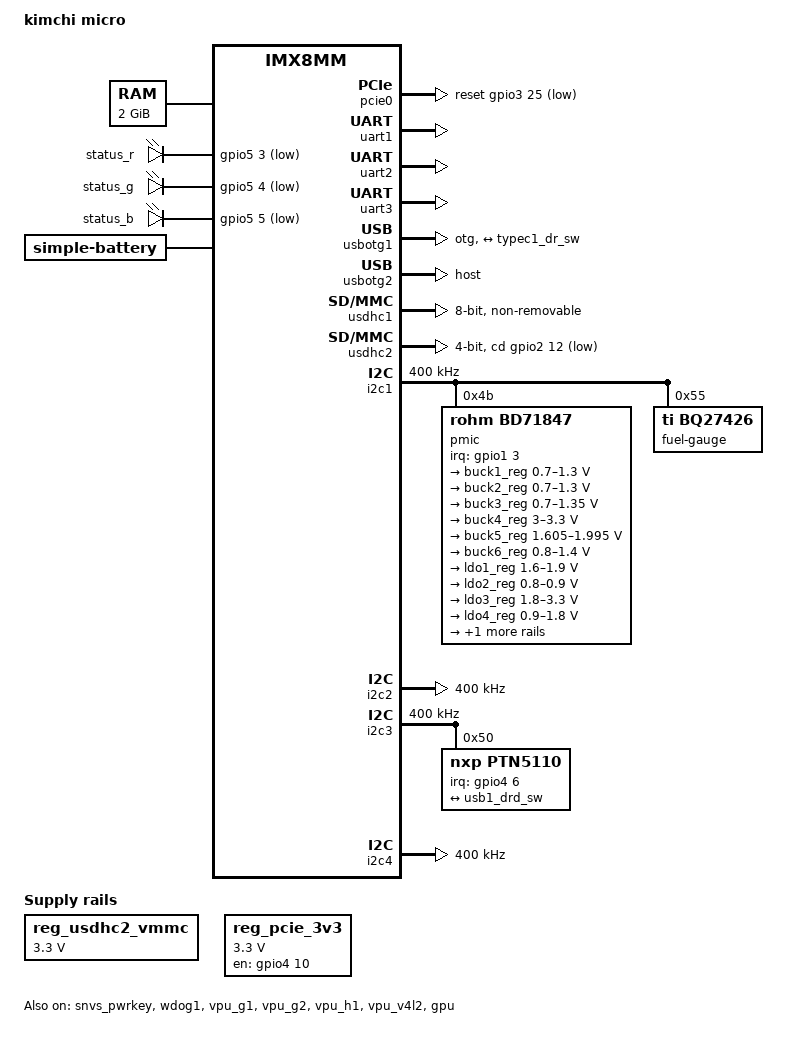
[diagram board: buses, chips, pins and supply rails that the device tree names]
/*
 * Copyright 2018 NXP
 *
 * This program is free software; you can redistribute it and/or
 * modify it under the terms of the GNU General Public License
 * as published by the Free Software Foundation; either version 2
 * of the License, or (at your option) any later version.
 *
 * This program is distributed in the hope that it will be useful,
 * but WITHOUT ANY WARRANTY; without even the implied warranty of
 * MERCHANTABILITY or FITNESS FOR A PARTICULAR PURPOSE.  See the
 * GNU General Public License for more details.
 */

/dts-v1/;

#include <dt-bindings/usb/pd.h>
#include "imx8mm.dtsi"

/ {
	model = "kimchi micro";
	compatible = "gg,kimchi", "fsl,imx8mm";

	chosen {
		stdout-path = &uart2;
	};

	memory@40000000 {
		device_type = "memory";
		reg = <0x0 0x40000000 0 0x80000000>;
	};

	leds {
		compatible = "gpio-leds";
		pinctrl-names = "default";
		pinctrl-0 = <&pinctrl_gpio_led>;

		status_r {
			label = "status_r";
			gpios = <&gpio5 3 GPIO_ACTIVE_LOW>;
			default-state = "off";
		};

		status_g {
			label = "status_g";
			gpios = <&gpio5 4 GPIO_ACTIVE_LOW>;
			default-state = "on";
		};

		status_b {
			label = "status_b";
			gpios = <&gpio5 5 GPIO_ACTIVE_LOW>;
			default-state = "off";
		};
	};

	reg_usdhc2_vmmc: regulator-usdhc2 {
		compatible = "regulator-fixed";
		regulator-name = "VSD_3V3";
		regulator-min-microvolt = <3300000>;
		regulator-max-microvolt = <3300000>;
		regulator-always-on;
	};

	reg_pcie_3v3: regulator-pcie-3v3 {
		compatible = "regulator-fixed";
		regulator-name = "PCIE_3V3";
		pinctrl-names = "default";
		pinctrl-0 = <&pinctrl_pcie_reg>;
		regulator-min-microvolt = <3300000>;
		regulator-max-microvolt = <3300000>;
		gpio = <&gpio4 10 GPIO_ACTIVE_HIGH>;
		enable-active-high;
	};

	/*
	extcon_usb1: extcon_usb1 {
		compatible = "linux,extcon-usb-gpio";
		pinctrl-names = "default";
		pinctrl-0 = <&pinctrl_usb1>;
		id-gpio = <&gpio1 10 GPIO_ACTIVE_HIGH>;
		vbus-gpio = <&gpio1 12 GPIO_ACTIVE_HIGH>;
	};

	extcon_usb2: extcon_usb2 {
		compatible = "linux,extcon-usb-gpio";
		pinctrl-names = "default";
		pinctrl-0 = <&pinctrl_usb2>;
		id-gpio = <&gpio1 11 GPIO_ACTIVE_HIGH>;
		vbus-gpio = <&gpio1 14 GPIO_ACTIVE_HIGH>;
	};
	*/

	bat: battery {
		compatible = "simple-battery";
		voltage-min-design-microvolt = <3100000>;
		energy-full-design-microwatt-hours = <6290000>;
		charge-full-design-microamp-hours = <1700000>;
	};
};

&A53_0 {
	cpu-supply = <&buck2_reg>;
};

&A53_1 {
	cpu-supply = <&buck2_reg>;
};

&A53_2 {
	cpu-supply = <&buck2_reg>;
};

&A53_3 {
	cpu-supply = <&buck2_reg>;
};

&pcie0{
	pinctrl-names = "default";
	pinctrl-0 = <&pinctrl_pcie0>;
	vpcie-supply = <&reg_pcie_3v3>;
	disable-gpio = <&gpio3 21 GPIO_ACTIVE_LOW>;
	reset-gpio = <&gpio3 25 GPIO_ACTIVE_LOW>;
	clocks = <&clk IMX8MM_CLK_PCIE1_ROOT>,
		 <&clk IMX8MM_CLK_PCIE1_AUX>,
		 <&clk IMX8MM_CLK_PCIE1_PHY>,
		 <&clk IMX8MM_SYS_PLL2_100M>;
	clock-names = "pcie", "pcie_aux", "pcie_phy", "pcie_bus";
	assigned-clocks = <&clk IMX8MM_CLK_PCIE1_AUX>,
			  <&clk IMX8MM_CLK_PCIE1_PHY>,
			  <&clk IMX8MM_CLK_PCIE1_CTRL>;
	assigned-clock-rates = <10000000>, <100000000>, <250000000>;
	assigned-clock-parents = <&clk IMX8MM_SYS_PLL2_50M>,
				 <&clk IMX8MM_SYS_PLL2_100M>,
				 <&clk IMX8MM_SYS_PLL2_250M>;
	ext_osc = <0>;
	status = "okay";
};

&snvs_pwrkey {
	status = "okay";
};

&uart1 { /* aux */
	pinctrl-names = "default";
	pinctrl-0 = <&pinctrl_uart1>;
	assigned-clocks = <&clk IMX8MM_CLK_UART1>;
	assigned-clock-parents = <&clk IMX8MM_SYS_PLL1_80M>;
	status = "okay";
};

&uart2 { /* console */
	pinctrl-names = "default";
	pinctrl-0 = <&pinctrl_uart2>;
	status = "okay";
};

&uart3 {
	pinctrl-names = "default";
	pinctrl-0 = <&pinctrl_uart3>;
	assigned-clocks = <&clk IMX8MM_CLK_UART3>;
	assigned-clock-parents = <&clk IMX8MM_SYS_PLL1_80M>;
	status = "okay";
};

&usbotg1 {
	dr_mode = "otg";
	hnp-disable;
	srp-disable;
	adp-disable;
	usb-role-switch;
	picophy,pre-emp-curr-control = <3>;
	picophy,dc-vol-level-adjust = <7>;
	status = "okay";

	port {
		usb1_drd_sw: endpoint {
			remote-endpoint = <&typec1_dr_sw>;
		};
	};
};

&usbotg2 {
	dr_mode = "host";
	disable-over-current;
	status = "okay";
};

&usdhc1 {
	pinctrl-names = "default", "state_100mhz", "state_200mhz";
	pinctrl-0 = <&pinctrl_usdhc1>;
	pinctrl-1 = <&pinctrl_usdhc1_100mhz>;
	pinctrl-2 = <&pinctrl_usdhc1_200mhz>;
	bus-width = <8>;
	non-removable;
	status = "okay";
};

&usdhc2 {
	pinctrl-names = "default", "state_100mhz", "state_200mhz";
	pinctrl-0 = <&pinctrl_usdhc2>, <&pinctrl_usdhc2_gpio>;
	pinctrl-1 = <&pinctrl_usdhc2_100mhz>, <&pinctrl_usdhc2_gpio>;
	pinctrl-2 = <&pinctrl_usdhc2_200mhz>, <&pinctrl_usdhc2_gpio>;
	cd-gpios = <&gpio2 12 GPIO_ACTIVE_LOW>;
	bus-width = <4>;
	status = "okay";
};

&wdog1 {
	pinctrl-names = "default";
	pinctrl-0 = <&pinctrl_wdog>;
	fsl,ext-reset-output;
	status = "okay";
};

&i2c1 {
	clock-frequency = <400000>;
	pinctrl-names = "default";
	pinctrl-0 = <&pinctrl_i2c1>;
	status = "okay";

	pmic@4b {
		compatible = "rohm,bd71847";
		reg = <0x4b>;
		pinctrl-0 = <&pinctrl_pmic>;
		interrupt-parent = <&gpio1>;
		interrupts = <3 GPIO_ACTIVE_LOW>;
		rohm,reset-snvs-powered;

		regulators {
			buck1_reg: BUCK1 {
				regulator-name = "BUCK1";
				regulator-min-microvolt = <700000>;
				regulator-max-microvolt = <1300000>;
				regulator-boot-on;
				regulator-always-on;
				regulator-ramp-delay = <1250>;
			};

			buck2_reg: BUCK2 {
				regulator-name = "BUCK2";
				regulator-min-microvolt = <700000>;
				regulator-max-microvolt = <1300000>;
				regulator-boot-on;
				regulator-always-on;
				regulator-ramp-delay = <1250>;
				rohm,dvs-run-voltage = <1000000>;
				rohm,dvs-idle-voltage = <900000>;
			};

			buck3_reg: BUCK3 {
				// BUCK5 in datasheet
				regulator-name = "BUCK3";
				regulator-min-microvolt = <700000>;
				regulator-max-microvolt = <1350000>;
				regulator-boot-on;
				regulator-always-on;
			};

			buck4_reg: BUCK4 {
				// BUCK6 in datasheet
				regulator-name = "BUCK4";
				regulator-min-microvolt = <3000000>;
				regulator-max-microvolt = <3300000>;
				regulator-boot-on;
				regulator-always-on;
			};

			buck5_reg: BUCK5 {
				// BUCK7 in datasheet
				regulator-name = "BUCK5";
				regulator-min-microvolt = <1605000>;
				regulator-max-microvolt = <1995000>;
				regulator-boot-on;
				regulator-always-on;
			};

			buck6_reg: BUCK6 {
				// BUCK8 in datasheet
				regulator-name = "BUCK6";
				regulator-min-microvolt = <800000>;
				regulator-max-microvolt = <1400000>;
				regulator-boot-on;
				regulator-always-on;
			};

			ldo1_reg: LDO1 {
				regulator-name = "LDO1";
				regulator-min-microvolt = <1600000>;
				regulator-max-microvolt = <1900000>;
				regulator-boot-on;
				regulator-always-on;
			};

			ldo2_reg: LDO2 {
				regulator-name = "LDO2";
				regulator-min-microvolt = <800000>;
				regulator-max-microvolt = <900000>;
				regulator-boot-on;
				regulator-always-on;
			};

			ldo3_reg: LDO3 {
				regulator-name = "LDO3";
				regulator-min-microvolt = <1800000>;
				regulator-max-microvolt = <3300000>;
				regulator-boot-on;
				regulator-always-on;
			};

			ldo4_reg: LDO4 {
				regulator-name = "LDO4";
				regulator-min-microvolt = <900000>;
				regulator-max-microvolt = <1800000>;
				regulator-boot-on;
				regulator-always-on;
			};

			ldo6_reg: LDO6 {
				regulator-name = "LDO6";
				regulator-min-microvolt = <900000>;
				regulator-max-microvolt = <1800000>;
				regulator-boot-on;
				regulator-always-on;
			};
		};
	};

	fuel-gauge@55 {
		compatible = "ti,bq27426";
		reg = <0x55>;
		monitored-battery = <&bat>;
	};
};

&i2c2 {
	clock-frequency = <400000>;
	pinctrl-names = "default";
	pinctrl-0 = <&pinctrl_i2c2>;
	status = "okay";
};

&i2c3 {
	clock-frequency = <400000>;
	pinctrl-names = "default";
	pinctrl-0 = <&pinctrl_i2c3>;
	status = "okay";

	ptn5110: tcpc@50 {
		compatible = "nxp,ptn5110";
		pinctrl-names = "default";
		pinctrl-0 = <&pinctrl_typec1>;
		reg = <0x50>;
		interrupt-parent = <&gpio4>;
		interrupts = <6 8>;
		status = "okay";

		/* Contrary to the documentation for 'nxp,ptn5110', this
		 * platform needs to have this type-c port controller and
		 * the usb controller connected in the port graph for dual
		 * role switching to work properly
		 */
		port {
			typec1_dr_sw: endpoint {
				remote-endpoint = <&usb1_drd_sw>;
			};
		};

		typec1_con: connector {
			compatible = "usb-c-connector";
			label = "USB-C";
			power-role = "dual";
			data-role = "dual";
			try-power-role = "sink";
			source-pdos = <PDO_FIXED(5000, 3000,
						 PDO_FIXED_USB_COMM)>;
			sink-pdos = <PDO_FIXED(5000, 3000,
						 PDO_FIXED_USB_COMM)>;
			op-sink-microwatt = <15000000>;

			port {
				/* we don't need to handle a type-c mux on this port
				 * so the endpoint here can be blank. Including the
				 * port node in the first place simply supresses
				 * warnings at boot.
				 */
			};
		};
	};
};

&i2c4 {
	clock-frequency = <400000>;
	pinctrl-names = "default";
	pinctrl-0 = <&pinctrl_i2c4>;
	status = "okay";
};

&iomuxc {
	pinctrl-names = "default";

	pinctrl_gpio_led: gpioledgrp {
		fsl,pins = <
			MX8MM_IOMUXC_SPDIF_EXT_CLK_GPIO5_IO5		0x20
			MX8MM_IOMUXC_SPDIF_RX_GPIO5_IO4			0x20
			MX8MM_IOMUXC_SPDIF_TX_GPIO5_IO3			0x20
		>;
	};

	pinctrl_i2c1: i2c1grp {
		fsl,pins = <
			MX8MM_IOMUXC_I2C1_SCL_I2C1_SCL			0x400001c3
			MX8MM_IOMUXC_I2C1_SDA_I2C1_SDA			0x400001c3
		>;
	};

	pinctrl_i2c2: i2c2grp {
		fsl,pins = <
			MX8MM_IOMUXC_I2C2_SCL_I2C2_SCL			0x400001c3
			MX8MM_IOMUXC_I2C2_SDA_I2C2_SDA			0x400001c3
		>;
	};

	pinctrl_i2c3: i2c3grp {
		fsl,pins = <
			MX8MM_IOMUXC_I2C3_SCL_I2C3_SCL			0x400001c3
			MX8MM_IOMUXC_I2C3_SDA_I2C3_SDA			0x400001c3
		>;
	};

	pinctrl_i2c4: i2c4grp {
		fsl,pins = <
			MX8MM_IOMUXC_I2C4_SCL_I2C4_SCL			0x400001c3
			MX8MM_IOMUXC_I2C4_SDA_I2C4_SDA			0x400001c3
		>;
	};

	pinctrl_pcie0: pcie0grp {
		fsl,pins = <
			MX8MM_IOMUXC_SAI5_RXD0_GPIO3_IO21	0x41
			MX8MM_IOMUXC_SAI5_MCLK_GPIO3_IO25		0x41
		>;
	};

	pinctrl_pcie_reg: pciereggrp {
		fsl,pins = <
			MX8MM_IOMUXC_SAI1_TXFS_GPIO4_IO10	0x40
		>;
	};

	pinctrl_pmic: pmicirq {
		fsl,pins = <
			MX8MM_IOMUXC_GPIO1_IO03_GPIO1_IO3		0x41
		>;
	};

	pinctrl_typec1: typec1grp {
		fsl,pins = <
			MX8MM_IOMUXC_SAI1_RXD4_GPIO4_IO6	0x159
		>;
	};

	pinctrl_uart1: uart1grp {
		fsl,pins = <
			MX8MM_IOMUXC_UART1_RXD_UART1_DCE_RX	0x140
			MX8MM_IOMUXC_UART1_TXD_UART1_DCE_TX	0x140
		>;
	};

	pinctrl_uart2: uart2grp {
		fsl,pins = <
			MX8MM_IOMUXC_UART2_RXD_UART2_DCE_RX	0x140
			MX8MM_IOMUXC_UART2_TXD_UART2_DCE_TX	0x140
		>;
	};

	pinctrl_uart3: uart3grp {
		fsl,pins = <
			MX8MM_IOMUXC_UART3_RXD_UART3_DCE_RX	0x140
			MX8MM_IOMUXC_UART3_TXD_UART3_DCE_TX	0x140
		>;
	};

	pinctrl_usdhc1: usdhc1grp {
		fsl,pins = <
			MX8MM_IOMUXC_SD1_CLK_USDHC1_CLK		0x190
			MX8MM_IOMUXC_SD1_CMD_USDHC1_CMD		0x1d0
			MX8MM_IOMUXC_SD1_DATA0_USDHC1_DATA0	0x1d0
			MX8MM_IOMUXC_SD1_DATA1_USDHC1_DATA1	0x1d0
			MX8MM_IOMUXC_SD1_DATA2_USDHC1_DATA2	0x1d0
			MX8MM_IOMUXC_SD1_DATA3_USDHC1_DATA3	0x1d0
			MX8MM_IOMUXC_SD1_DATA4_USDHC1_DATA4 0x1d0
			MX8MM_IOMUXC_SD1_DATA5_USDHC1_DATA5	0x1d0
			MX8MM_IOMUXC_SD1_DATA6_USDHC1_DATA6	0x1d0
			MX8MM_IOMUXC_SD1_DATA7_USDHC1_DATA7	0x1d0
			MX8MM_IOMUXC_SD1_RESET_B_USDHC1_RESET_B 0x150
			MX8MM_IOMUXC_SD1_STROBE_USDHC1_STROBE	0x190
		>;
	};

	pinctrl_usdhc1_100mhz: usdhc1grp100mhz {
		fsl,pins = <
			MX8MM_IOMUXC_SD1_CLK_USDHC1_CLK		0x194
			MX8MM_IOMUXC_SD1_CMD_USDHC1_CMD		0x1d4
			MX8MM_IOMUXC_SD1_DATA0_USDHC1_DATA0	0x1d4
			MX8MM_IOMUXC_SD1_DATA1_USDHC1_DATA1	0x1d4
			MX8MM_IOMUXC_SD1_DATA2_USDHC1_DATA2	0x1d4
			MX8MM_IOMUXC_SD1_DATA3_USDHC1_DATA3	0x1d4
			MX8MM_IOMUXC_SD1_DATA4_USDHC1_DATA4 0x1d4
			MX8MM_IOMUXC_SD1_DATA5_USDHC1_DATA5	0x1d4
			MX8MM_IOMUXC_SD1_DATA6_USDHC1_DATA6	0x1d4
			MX8MM_IOMUXC_SD1_DATA7_USDHC1_DATA7	0x1d4
			MX8MM_IOMUXC_SD1_RESET_B_USDHC1_RESET_B 0x150
			MX8MM_IOMUXC_SD1_STROBE_USDHC1_STROBE	0x194
		>;
	};

	pinctrl_usdhc1_200mhz: usdhc1grp200mhz {
		fsl,pins = <
			MX8MM_IOMUXC_SD1_CLK_USDHC1_CLK		0x196
			MX8MM_IOMUXC_SD1_CMD_USDHC1_CMD		0x1d6
			MX8MM_IOMUXC_SD1_DATA0_USDHC1_DATA0	0x1d6
			MX8MM_IOMUXC_SD1_DATA1_USDHC1_DATA1	0x1d6
			MX8MM_IOMUXC_SD1_DATA2_USDHC1_DATA2	0x1d6
			MX8MM_IOMUXC_SD1_DATA3_USDHC1_DATA3	0x1d6
			MX8MM_IOMUXC_SD1_DATA4_USDHC1_DATA4 0x1d6
			MX8MM_IOMUXC_SD1_DATA5_USDHC1_DATA5	0x1d6
			MX8MM_IOMUXC_SD1_DATA6_USDHC1_DATA6	0x1d6
			MX8MM_IOMUXC_SD1_DATA7_USDHC1_DATA7	0x1d6
			MX8MM_IOMUXC_SD1_RESET_B_USDHC1_RESET_B 0x150
			MX8MM_IOMUXC_SD1_STROBE_USDHC1_STROBE	0x196
		>;
	};

	pinctrl_usdhc2_gpio: usdhc2grpgpio {
		fsl,pins = <
			MX8MM_IOMUXC_SD2_CD_B_GPIO2_IO12	0x1c4
		>;
	};

	pinctrl_usdhc2: usdhc2grp {
		fsl,pins = <
			MX8MM_IOMUXC_SD2_CLK_USDHC2_CLK		0x190
			MX8MM_IOMUXC_SD2_CMD_USDHC2_CMD		0x1d0
			MX8MM_IOMUXC_SD2_DATA0_USDHC2_DATA0	0x1d0
			MX8MM_IOMUXC_SD2_DATA1_USDHC2_DATA1	0x1d0
			MX8MM_IOMUXC_SD2_DATA2_USDHC2_DATA2	0x1d0
			MX8MM_IOMUXC_SD2_DATA3_USDHC2_DATA3	0x1d0
			MX8MM_IOMUXC_GPIO1_IO04_USDHC2_VSELECT	0x1d0
		>;
	};

	pinctrl_usdhc2_100mhz: usdhc2grp100mhz {
		fsl,pins = <
			MX8MM_IOMUXC_SD2_CLK_USDHC2_CLK		0x194
			MX8MM_IOMUXC_SD2_CMD_USDHC2_CMD		0x1d4
			MX8MM_IOMUXC_SD2_DATA0_USDHC2_DATA0	0x1d4
			MX8MM_IOMUXC_SD2_DATA1_USDHC2_DATA1	0x1d4
			MX8MM_IOMUXC_SD2_DATA2_USDHC2_DATA2	0x1d4
			MX8MM_IOMUXC_SD2_DATA3_USDHC2_DATA3	0x1d4
			MX8MM_IOMUXC_GPIO1_IO04_USDHC2_VSELECT	0x1d0
		>;
	};

	pinctrl_usdhc2_200mhz: usdhc2grp200mhz {
		fsl,pins = <
			MX8MM_IOMUXC_SD2_CLK_USDHC2_CLK		0x196
			MX8MM_IOMUXC_SD2_CMD_USDHC2_CMD		0x1d6
			MX8MM_IOMUXC_SD2_DATA0_USDHC2_DATA0	0x1d6
			MX8MM_IOMUXC_SD2_DATA1_USDHC2_DATA1	0x1d6
			MX8MM_IOMUXC_SD2_DATA2_USDHC2_DATA2	0x1d6
			MX8MM_IOMUXC_SD2_DATA3_USDHC2_DATA3	0x1d6
			MX8MM_IOMUXC_GPIO1_IO04_USDHC2_VSELECT	0x1d0
		>;
	};

	pinctrl_wdog: wdoggrp {
		fsl,pins = <
			MX8MM_IOMUXC_GPIO1_IO02_WDOG1_WDOG_B		0xc6
		>;
	};
};

&vpu_g1 {
	status = "okay";
};

&vpu_g2 {
	status = "okay";
};

&vpu_h1 {
	status = "okay";
};

&vpu_v4l2 {
	status = "okay";
};

&gpu {
	status = "okay";
};
